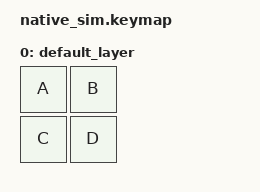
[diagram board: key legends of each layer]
#include <behaviors.dtsi>
#include <dt-bindings/zmk/keys.h>
#include <dt-bindings/zmk/kscan_mock.h>

/ {
    keymap {
        compatible = "zmk,keymap";

        default_layer {
            bindings = <
                &kp A &kp B
                &kp C &kp D
            >;
        };
    };
};

&kscan {
    /delete-property/ exit-after;
    events = <
        ZMK_MOCK_PRESS(1,1,5000)
        ZMK_MOCK_RELEASE(1,1,10)
    >;
};
